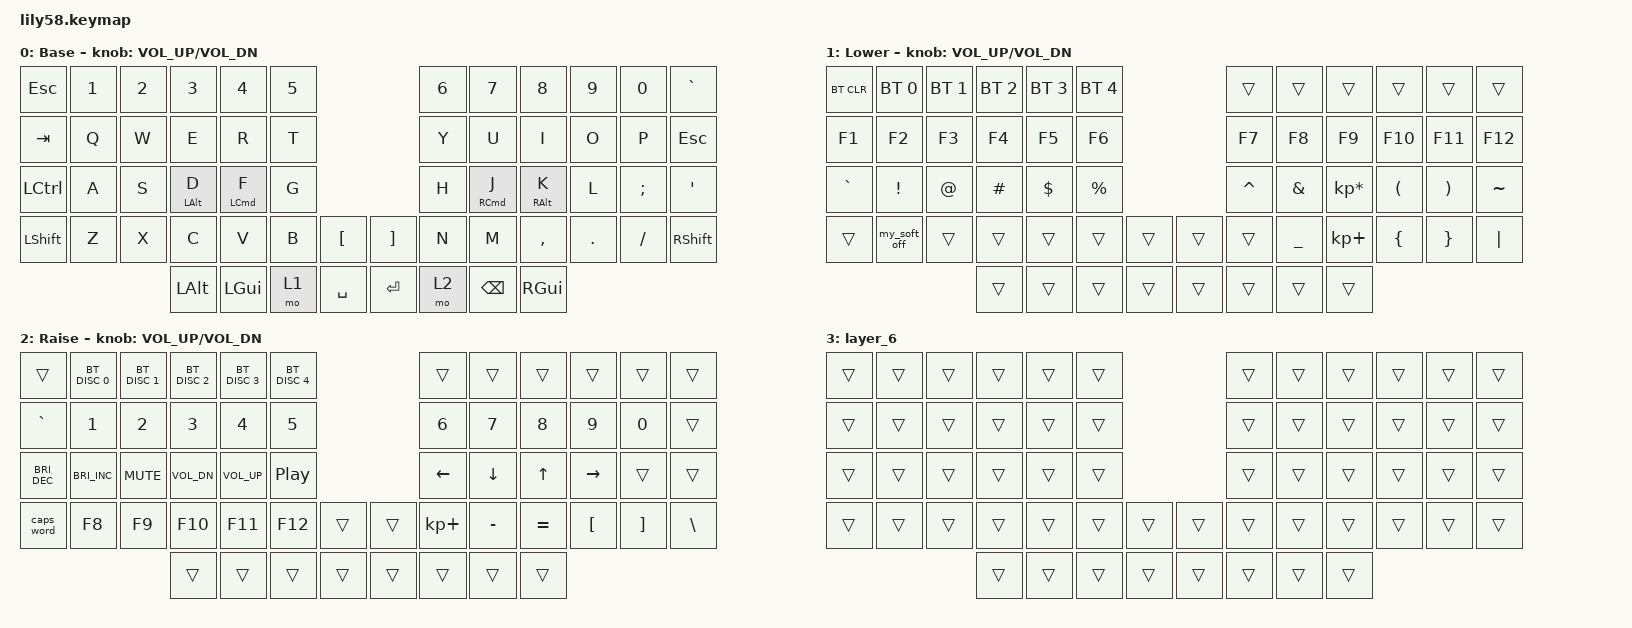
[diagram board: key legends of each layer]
/*
 * Copyright (c) 2020 The ZMK Contributors
 *
 * SPDX-License-Identifier: MIT
 */

#include <behaviors.dtsi>
#include <dt-bindings/zmk/bt.h>
#include <dt-bindings/zmk/keys.h>

/* 1. Kscan override: Use the &label to add the wakeup property */

&kscan0 { wakeup-source; };

&mt {
    tapping-term-ms = <200>;
    quick-tap-ms = <150>;
    require-prior-idle-ms = <150>;
    flavor = "tap-preferred";
};

/ {
    /* 2. Custom behaviors: Define my soft-off behavior */

    behaviors {
        my_soft_off: soft_off {
            compatible = "zmk,behavior-soft-off";
            #binding-cells = <0>;
            hold-time-ms = <2000>;
        };
    };

    keymap {
        compatible = "zmk,keymap";

        default_layer {
            // ------------------------------------------------------------------------------------------------------------
            // |  ESC  |  1  |  2  |  3   |  4   |  5   |                   |  6   |  7    |  8    |  9   |   0   |   `   |
            // |  TAB  |  Q  |  W  |  E   |  R   |  T   |                   |  Y   |  U    |  I    |  O   |   P   |   -   |
            // |  CTRL |  A  |  S  |  D   |  F   |  G   |                   |  H   |  J    |  K    |  L   |   ;   |   '   |
            // | SHIFT |  Z  |  X  |  C   |  V   |  B   |   "["  |  |  "]"  |  N   |  M    |  ,    |  .   |   /   | SHIFT |
            //                     | ALT  | GUI  | LOWER|  SPACE |  | ENTER | RAISE| BSPC  | GUI   |

            display-name = "Base";
            bindings = <
&kp ESC    &kp N1  &kp N2  &kp N3      &kp N4      &kp N5                         &kp N6  &kp N7      &kp N8      &kp N9   &kp N0    &kp GRAVE
&kp TAB    &kp Q   &kp W   &kp E       &kp R       &kp T                          &kp Y   &kp U       &kp I       &kp O    &kp P     &kp ESC
&kp LCTRL  &kp A   &kp S   &mt LALT D  &mt LCMD F  &kp G                          &kp H   &mt RCMD J  &mt RALT K  &kp L    &kp SEMI  &kp SQT
&kp LSHFT  &kp Z   &kp X   &kp C       &kp V       &kp B   &kp LBKT     &kp RBKT  &kp N   &kp M       &kp COMMA   &kp DOT  &kp FSLH  &kp RSHFT
                           &kp LALT    &kp LGUI    &mo 1   &kp SPACE    &kp RET   &mo 2   &kp BSPC    &kp RGUI
            >;

            sensor-bindings = <&inc_dec_kp C_VOL_UP C_VOL_DN>;
        };

        lower_layer {
            // ------------------------------------------------------------------------------------------------------------
            // | BTCLR | BT1 | BT2 |  BT3 |  BT4 |  BT5 |                   |      |       |       |      |       |       |
            // |  F1   |  F2 |  F3 |  F4  |  F5  |  F6  |                   |  F7  |  F8   |  F9   |  F10 |  F11  |  F12  |
            // |   `   |  !  |  @  |  #   |  $   |  %   |                   |  ^   |  &    |  *    |  (   |   )   |   ~   |
            // |       |     |     |      |      |      |        |  |       |      |  _    |  +    |  {   |   }   |  "|"  |
            //                     |      |      |      |        |  |       |      |       |       |

            display-name = "Lower";
            bindings = <
&bt BT_CLR  &bt BT_SEL 0  &bt BT_SEL 1  &bt BT_SEL 2  &bt BT_SEL 3  &bt BT_SEL 4                    &trans     &trans          &trans           &trans    &trans    &trans
&kp F1      &kp F2        &kp F3        &kp F4        &kp F5        &kp F6                          &kp F7     &kp F8          &kp F9           &kp F10   &kp F11   &kp F12
&kp GRAVE   &kp EXCL      &kp AT        &kp HASH      &kp DOLLAR    &kp PRCNT                       &kp CARET  &kp AMPS        &kp KP_MULTIPLY  &kp LPAR  &kp RPAR  &kp TILDE
&trans      &my_soft_off  &trans        &trans        &trans        &trans        &trans    &trans  &trans     &kp UNDERSCORE  &kp KP_PLUS      &kp LBRC  &kp RBRC  &kp PIPE
                                        &trans        &trans        &trans        &trans    &trans  &trans     &trans          &trans
            >;

            sensor-bindings = <&inc_dec_kp C_VOL_UP C_VOL_DN>;
        };

        raise_layer {
            // ------------------------------------------------------------------------------------------------------------
            // |       |     |     |      |      |      |                   |      |       |       |      |       |       |
            // |   `   |  1  |  2  |  3   |  4   |  5   |                   |  6   |   7   |   8   |  9   |   0   |       |
            // |   F1  |  F2 |  F3 |  F4  |  F5  |  F6  |                   |      |   <-  |   v   |  ^   |  ->   |       |
            // |   F7  |  F8 |  F9 |  F10 |  F11 |  F12 |        |  |       |  +   |   -   |   =   |  [   |   ]   |   \   |
            //                     |      |      |      |        |  |       |      |       |       |

            display-name = "Raise";
            bindings = <
&trans                &bt BT_DISC 0         &bt BT_DISC 1  &bt BT_DISC 2  &bt BT_DISC 3  &bt BT_DISC 4                       &trans          &trans          &trans        &trans     &trans    &trans
&kp GRAVE             &kp N1                &kp N2         &kp N3         &kp N4         &kp N5                              &kp N6          &kp N7          &kp N8        &kp N9     &kp N0    &trans
&kp C_BRIGHTNESS_DEC  &kp C_BRIGHTNESS_INC  &kp C_MUTE     &kp C_VOL_DN   &kp C_VOL_UP   &kp C_PLAY_PAUSE                    &kp LEFT_ARROW  &kp DOWN_ARROW  &kp UP_ARROW  &kp RIGHT  &trans    &trans
&caps_word            &kp F8                &kp F9         &kp F10        &kp F11        &kp F12           &trans    &trans  &kp KP_PLUS     &kp MINUS       &kp EQUAL     &kp LBKT   &kp RBKT  &kp BSLH
                                                           &trans         &trans         &trans            &trans    &trans  &trans          &trans          &trans
            >;

            sensor-bindings = <&inc_dec_kp C_VOL_UP C_VOL_DN>;
        };

        extra_1 { status = "reserved"; };

        extra_2 { status = "reserved"; };

        extra_3 { status = "reserved"; };

        layer_6 {
            bindings = <
&trans  &trans  &trans  &trans  &trans  &trans                    &trans  &trans  &trans  &trans  &trans  &trans
&trans  &trans  &trans  &trans  &trans  &trans                    &trans  &trans  &trans  &trans  &trans  &trans
&trans  &trans  &trans  &trans  &trans  &trans                    &trans  &trans  &trans  &trans  &trans  &trans
&trans  &trans  &trans  &trans  &trans  &trans  &trans    &trans  &trans  &trans  &trans  &trans  &trans  &trans
                        &trans  &trans  &trans  &trans    &trans  &trans  &trans  &trans
            >;
        };
    };
};
